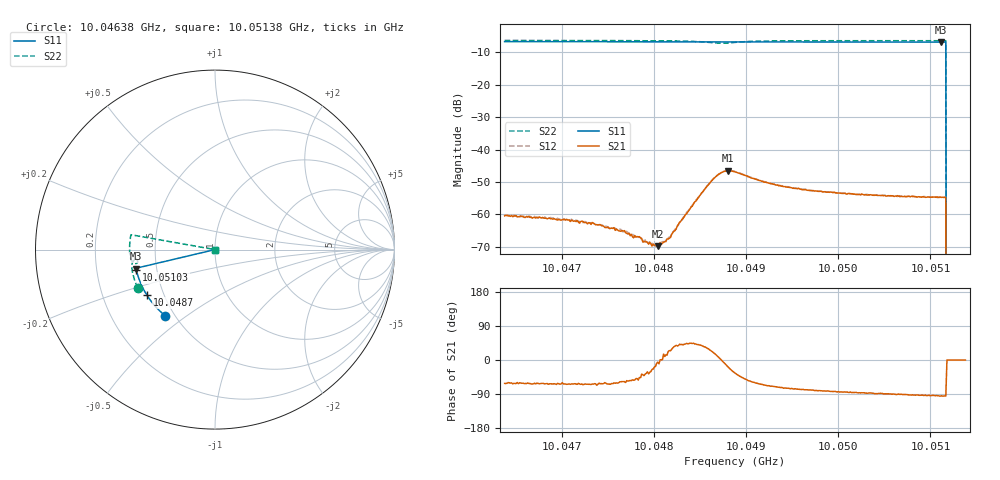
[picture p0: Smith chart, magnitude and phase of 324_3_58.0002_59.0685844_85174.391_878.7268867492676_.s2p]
#  HZ  S  RI  R  50.00
! Rohde & Schwarz Vector Network Analyzer
! Rohde-Schwarz,ZNB20-2Port,1311601062101988,3.16
! Created: UTC 3/21/2024, 1:04:50 AM
! freq[Hz]  re:S11  im:S11  re:S21  im:S21  re:S12  im:S12  re:S22  im:S22
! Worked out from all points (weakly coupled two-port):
!   401 points, 10.04638 GHz to 10.05138 GHz, reference 50 ohm
!   highest |S21| = -46.58 dB at 10.0488 GHz (marker M1); lowest = -69.8 dB at 10.04804 GHz (marker M2)
!   lowest |S11| = -6.9 dB at 10.05112 GHz (marker M3), VSWR 2.65, Z = 19.1 - j5.14 ohm
!   |S11| at or under -10 dB: 10.05117 GHz to end of sweep
!   |S22| runs from - to -6.4 dB; largest |S21 - S12| = 0.00035
!   S11 on the Smith chart (normalised r, x): 10.04638 GHz: 0.44, -0.41; 10.0487 GHz: 0.40, -0.26; 10.05103 GHz: 0.38, -0.11; 10.05138 GHz: 1.00, +0.00
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1.0046377e10  -0.2789 -0.3673  0.000449 -0.000836  0.000536 -0.000811  -0.4299 -0.2142
1.0046902e10  -0.305 -0.3442  0.000381 -0.000753  0.000455 -0.000755  -0.4435 -0.1817
1.0047215e10  -0.3197 -0.3299  0.000354 -0.000698  0.000381 -0.000677  -0.4505 -0.1614
1.0047427e10  -0.3293 -0.3196  0.000312 -0.000592  0.000357 -0.000577  -0.4548 -0.1472
1.0047703e10  -0.3414 -0.3059  0.000296 -0.000416  0.000321 -0.000442  -0.4595 -0.1283
1.004784e10  -0.347 -0.2988  0.000314 -0.000327  0.000323 -0.000312  -0.4613 -0.1184
1.0047953e10  -0.3517 -0.293  0.000313 -0.0002  0.000326 -0.000182  -0.4626 -0.1098
1.004804e10  -0.3551 -0.2885  0.000322 -3.25e-05  0.000337 -3.06e-05  -0.4634 -0.1031
1.0048053e10  -0.3557 -0.2878  0.000333 -5.97e-05  0.000329 -8.09e-06  -0.4634 -0.1019
1.0048178e10  -0.3607 -0.2814  0.000401 0.000181  0.0004 0.000216  -0.4638 -0.0917
1.004854e10  -0.3742 -0.2617  0.00193 0.00134  0.00185 0.00147  -0.4514 -0.0594
1.0048703e10  -0.3798 -0.2527  0.00414 0.000493  0.00413 0.000721  -0.4323 -0.0607
1.0048803e10  -0.3831 -0.2472  0.00445 -0.00149  0.00454 -0.00122  -0.4329 -0.0736
1.0048878e10  -0.3857 -0.2432  0.00373 -0.00256  0.00393 -0.00234  -0.4417 -0.0782
1.0049253e10  -0.398 -0.2217  0.00112 -0.0028  0.0013 -0.00275  -0.4691 -0.0523
1.0049716e10  -0.4113 -0.1943  0.000429 -0.00227  0.000549 -0.00227  -0.4753 -0.0161
1.0050553e10  -0.4305 -0.1428  1.96e-05 -0.00192  0.000103 -0.00193  -0.4742 0.0424
1.0051029e10  -0.4386 -0.1127  -9.89e-05 -0.00185  -2.58e-05 -0.00184  -0.47 0.0739
1.0051116e10  -0.4397 -0.1071  -0.00014 -0.00182  -6.86e-05 -0.00182  -0.4692 0.0797
1.0051141e10  -0.4402 -0.1054  -0.000159 -0.00183  -7.75e-05 -0.00181  -0.4688 0.0813
1.0051204e10  0 0  0 0  0 0  0 0
1.0051379e10  0 0  0 0  0 0  0 0
